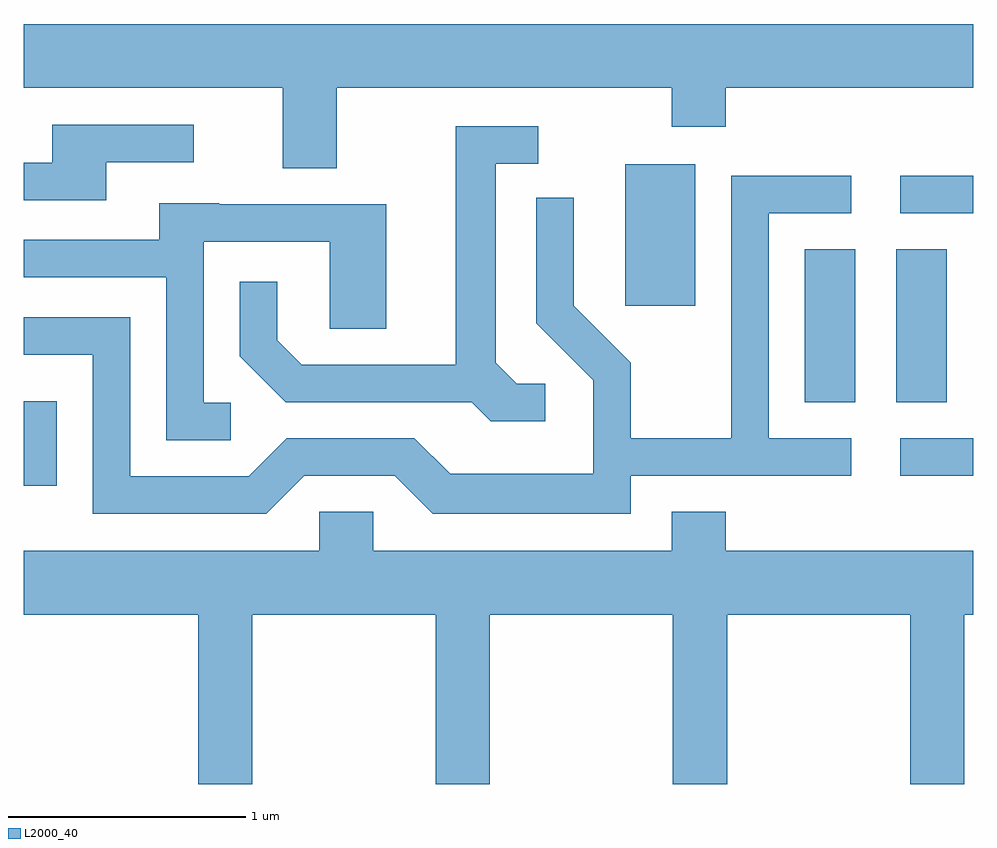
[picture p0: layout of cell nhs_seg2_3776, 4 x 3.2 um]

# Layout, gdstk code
import gdstk
lib = gdstk.Library(unit=1e-6, precision=1e-09)
def R(c, l, rs):  # rectangles x0, y0, x1, y1
    for r in rs: c.add(gdstk.rectangle(r[:2], r[2:], *l))
def P(c, l, *ps):  # polygons
    for p in ps: c.add(gdstk.Polygon(p, *l))
L2000_40 = (2000, 40)

nhs_seg2_3776 = lib.new_cell('nhs_seg2_3776')
R(nhs_seg2_3776, L2000_40, [(295.611,1071.058,295.749,1071.414), (299.303,1071.101,299.611,1071.259), (298.901,1071.411,299.114,1072.054), (299.286,1071.411,299.499,1072.054), (298.146,1071.816,298.439,1072.414), (299.303,1072.206,299.611,1072.364)])
P(nhs_seg2_3776, L2000_40, [(296.929,1072.736),(298.341,1072.736),(298.341,1072.571),(298.569,1072.571),(298.569,1072.736),(299.611,1072.736),(299.611,1073.004),(295.611,1073.004),(295.611,1072.736),(296.701,1072.736),(296.701,1072.396),(296.929,1072.396)],
  [(295.959,1072.421),(296.328,1072.421),(296.328,1072.579),(295.731,1072.579),(295.731,1072.419),(295.611,1072.419),(295.611,1072.261),(295.959,1072.261)],
  [(297.808,1071.489),(297.687,1071.489),(297.599,1071.577),(297.599,1072.416),(297.778,1072.416),(297.778,1072.574),(297.431,1072.574),(297.431,1071.569),(296.782,1071.569),(296.679,1071.672),(296.679,1071.918),(296.521,1071.918),(296.521,1071.604),(296.714,1071.411),(297.499,1071.411),(297.579,1071.331),(297.808,1071.331)],
  [(296.792,1071.101),(297.174,1071.101),(297.334,1070.941),(298.169,1070.941),(298.169,1071.101),(299.098,1071.101),(299.098,1071.259),(298.749,1071.259),(298.749,1072.206),(299.098,1072.206),(299.098,1072.364),(298.591,1072.364),(298.591,1071.259),(298.169,1071.259),(298.169,1071.577),(297.929,1071.817),(297.929,1072.273),(297.771,1072.273),(297.771,1071.744),(298.011,1071.504),(298.011,1071.109),(297.407,1071.109),(297.257,1071.259),(296.719,1071.259),(296.559,1071.099),(296.059,1071.099),(296.059,1071.769),(295.611,1071.769),(295.611,1071.611),(295.901,1071.611),(295.901,1070.941),(296.632,1070.941)],
  [(296.483,1071.409),(296.369,1071.409),(296.369,1072.086),(296.901,1072.086),(296.901,1071.721),(297.139,1071.721),(297.139,1072.244),(296.435,1072.244),(296.435,1072.249),(296.181,1072.249),(296.181,1072.094),(295.611,1072.094),(295.611,1071.936),(296.211,1071.936),(296.211,1071.251),(296.483,1071.251)],
  [(296.574,1070.516),(297.346,1070.516),(297.346,1069.802),(297.574,1069.802),(297.574,1070.516),(298.346,1070.516),(298.346,1069.802),(298.574,1069.802),(298.574,1070.516),(299.346,1070.516),(299.346,1069.802),(299.574,1069.802),(299.574,1070.516),(299.611,1070.516),(299.611,1070.784),(298.569,1070.784),(298.569,1070.949),(298.341,1070.949),(298.341,1070.784),(297.084,1070.784),(297.084,1070.949),(296.856,1070.949),(296.856,1070.784),(295.611,1070.784),(295.611,1070.516),(296.346,1070.516),(296.346,1069.802),(296.574,1069.802)])

lib.write_gds('nhs_seg2_3776.gds')
